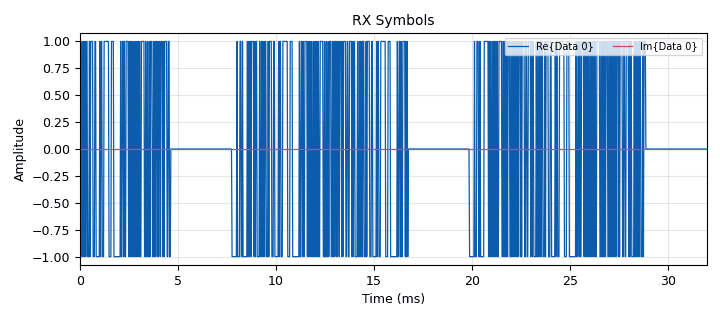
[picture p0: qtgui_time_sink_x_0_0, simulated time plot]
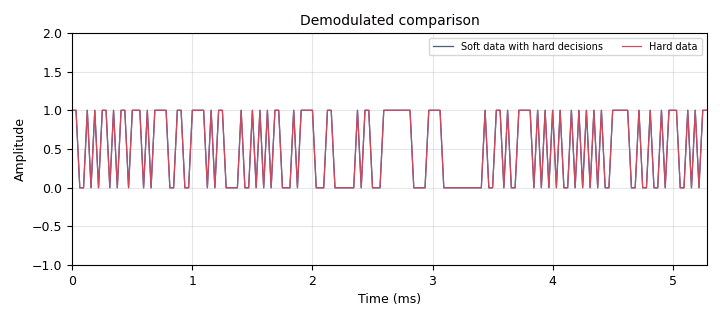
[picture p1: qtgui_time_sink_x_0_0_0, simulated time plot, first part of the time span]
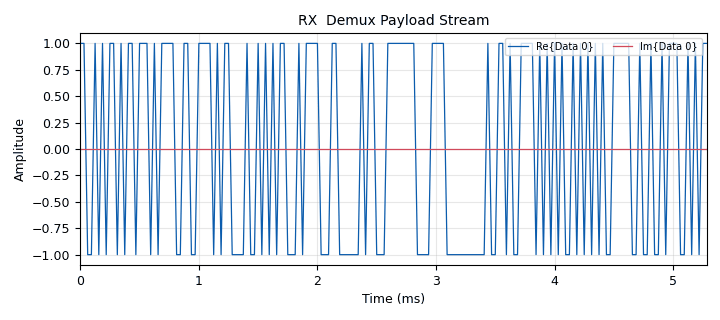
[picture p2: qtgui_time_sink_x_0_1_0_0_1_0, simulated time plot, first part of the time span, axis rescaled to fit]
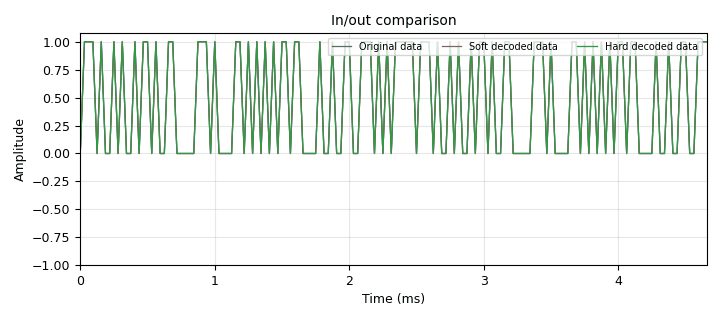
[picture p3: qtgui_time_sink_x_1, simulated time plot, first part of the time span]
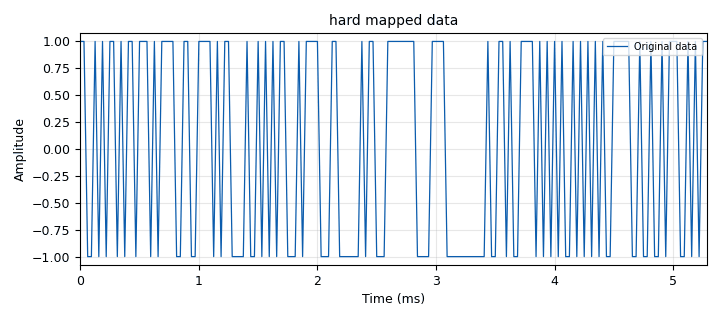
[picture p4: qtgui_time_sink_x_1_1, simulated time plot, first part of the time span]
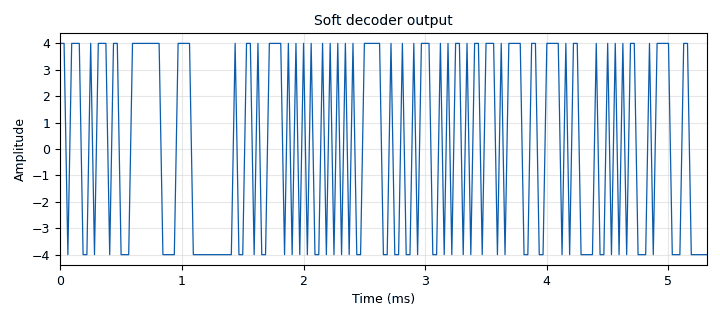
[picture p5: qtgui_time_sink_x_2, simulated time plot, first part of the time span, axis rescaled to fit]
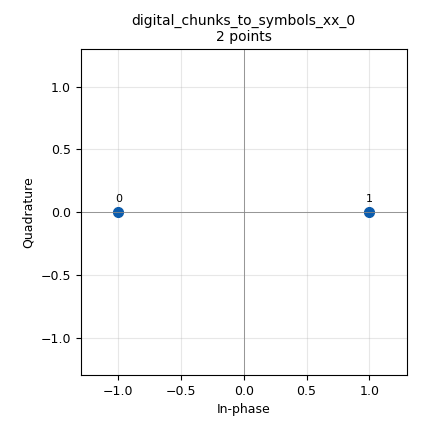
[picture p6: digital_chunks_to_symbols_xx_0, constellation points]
<?xml version='1.0' encoding='utf-8'?>
<?grc format='1' created='3.7.11'?>
<flow_graph>
<block>
<key>options</key>
<param><key>id</key><value>basic_encdec_fec</value></param>
<param><key>category</key><value>Custom</value></param>
<param><key>generate_options</key><value>qt_gui</value></param>
</block>
<block>
<key>variable</key>
<param><key>id</key><value>constel</value></param>
<param><key>value</key><value>digital.constellation_qpsk()</value></param>
</block>
<block>
<key>variable_constellation</key>
<param><key>id</key><value>constel_header</value></param>
<param><key>const_points</key><value>[1,-1]</value></param>
<param><key>type</key><value>calcdist</value></param>
<param><key>dims</key><value>1</value></param>
<param><key>_enabled</key><value>0</value></param>
<param><key>rot_sym</key><value>2</value></param>
<param><key>precision</key><value>8</value></param>
<param><key>sym_map</key><value>[0,1]</value></param>
</block>
<block>
<key>variable</key>
<param><key>id</key><value>constel_header</value></param>
<param><key>value</key><value>digital.constellation_bpsk()</value></param>
</block>
<block>
<key>variable_constellation</key>
<param><key>id</key><value>constel_payload</value></param>
<param><key>const_points</key><value>[-1-1j, -1+1j, 1+1j, 1-1j]</value></param>
<param><key>type</key><value>calcdist</value></param>
<param><key>dims</key><value>1</value></param>
<param><key>_enabled</key><value>0</value></param>
<param><key>rot_sym</key><value>4</value></param>
<param><key>precision</key><value>8</value></param>
<param><key>sym_map</key><value>[0, 1, 3, 2]</value></param>
</block>
<block>
<key>variable</key>
<param><key>id</key><value>constel_payload</value></param>
<param><key>value</key><value>digital.constellation_bpsk()</value></param>
</block>
<block>
<key>variable</key>
<param><key>id</key><value>constel_preamble</value></param>
<param><key>value</key><value>digital.constellation_bpsk()</value></param>
</block>
<block>
<key>variable_cc_decoder_def</key>
<param><key>id</key><value>dec_cc_0</value></param>
<param><key>padding</key><value>False</value></param>
<param><key>k</key><value>k</value></param>
<param><key>state_end</key><value>-1</value></param>
<param><key>framebits</key><value>frame_size*8</value></param>
<param><key>ndim</key><value>0</value></param>
<param><key>polys</key><value>polys</value></param>
<param><key>rate</key><value>rate</value></param>
<param><key>state_start</key><value>0</value></param>
<param><key>mode</key><value>fec.CC_STREAMING</value></param>
</block>
<block>
<key>variable_cc_decoder_def</key>
<param><key>id</key><value>dec_cc_1</value></param>
<param><key>padding</key><value>False</value></param>
<param><key>k</key><value>k</value></param>
<param><key>state_end</key><value>-1</value></param>
<param><key>framebits</key><value>frame_size*8</value></param>
<param><key>ndim</key><value>0</value></param>
<param><key>polys</key><value>polys</value></param>
<param><key>rate</key><value>rate</value></param>
<param><key>state_start</key><value>0</value></param>
<param><key>mode</key><value>fec.CC_STREAMING</value></param>
</block>
<block>
<key>variable_cc_encoder_def</key>
<param><key>id</key><value>enc_cc</value></param>
<param><key>padding</key><value>False</value></param>
<param><key>k</key><value>k</value></param>
<param><key>framebits</key><value>frame_size*8</value></param>
<param><key>ndim</key><value>0</value></param>
<param><key>polys</key><value>polys</value></param>
<param><key>rate</key><value>rate</value></param>
<param><key>state_start</key><value>0</value></param>
<param><key>mode</key><value>fec.CC_STREAMING</value></param>
</block>
<block>
<key>variable</key>
<param><key>id</key><value>header_formatter</value></param>
<param><key>value</key><value>digital.packet_header_default(32/constel_header.bits_per_symbol(), "packet_len", "packet_num", constel_header.bits_per_symbol())</value></param>
</block>
<block>
<key>variable</key>
<param><key>id</key><value>k</value></param>
<param><key>value</key><value>7</value></param>
</block>
<block>
<key>variable</key>
<param><key>id</key><value>polys</value></param>
<param><key>value</key><value>[109, 79]</value></param>
</block>
<block>
<key>variable</key>
<param><key>id</key><value>preamble</value></param>
<param><key>value</key><value>[1,-1,1,-1,1,1,-1,-1,1,1,-1,1,1,1,-1,1,1,-1,1,-1,-1,1,-1,-1,1,1,1,-1,-1,-1,1,-1,1,1,1,1,-1,-1,1,-1,1,-1,-1,-1,1,1,-1,-1,-1,-1,1,-1,-1,-1,-1,-1,1,1,1,1,1,1,-1,-1]</value></param>
</block>
<block>
<key>variable</key>
<param><key>id</key><value>rate</value></param>
<param><key>value</key><value>2</value></param>
</block>
<block>
<key>variable_qtgui_range</key>
<param><key>id</key><value>samp_rate</value></param>
<param><key>value</key><value>32000</value></param>
<param><key>gui_hint</key><value>3,1,1,1</value></param>
<param><key>label</key><value>Sample rate</value></param>
<param><key>min_len</key><value>100</value></param>
<param><key>orient</key><value>Qt.Horizontal</value></param>
<param><key>start</key><value>1</value></param>
<param><key>step</key><value>10</value></param>
<param><key>stop</key><value>256000</value></param>
<param><key>rangeType</key><value>int</value></param>
<param><key>widget</key><value>slider</value></param>
</block>
<block>
<key>variable</key>
<param><key>id</key><value>samp_rate</value></param>
<param><key>_enabled</key><value>0</value></param>
<param><key>value</key><value>32000</value></param>
</block>
<block>
<key>analog_random_source_x</key>
<param><key>id</key><value>analog_random_source_x_0</value></param>
<param><key>max</key><value>256</value></param>
<param><key>min</key><value>0</value></param>
<param><key>num_samps</key><value>10</value></param>
<param><key>type</key><value>byte</value></param>
<param><key>repeat</key><value>True</value></param>
</block>
<block>
<key>blocks_char_to_float</key>
<param><key>id</key><value>blocks_char_to_float_0</value></param>
<param><key>scale</key><value>1</value></param>
</block>
<block>
<key>blocks_char_to_float</key>
<param><key>id</key><value>blocks_char_to_float_0_0</value></param>
<param><key>scale</key><value>1</value></param>
</block>
<block>
<key>blocks_char_to_float</key>
<param><key>id</key><value>blocks_char_to_float_0_0_0</value></param>
<param><key>scale</key><value>1</value></param>
</block>
<block>
<key>blocks_char_to_float</key>
<param><key>id</key><value>blocks_char_to_float_0_0_0_0</value></param>
<param><key>scale</key><value>1</value></param>
</block>
<block>
<key>blocks_char_to_float</key>
<param><key>id</key><value>blocks_char_to_float_0_0_1</value></param>
<param><key>scale</key><value>1</value></param>
</block>
<block>
<key>blocks_char_to_float</key>
<param><key>id</key><value>blocks_char_to_float_0_1</value></param>
<param><key>scale</key><value>1</value></param>
</block>
<block>
<key>blocks_message_debug</key>
<param><key>id</key><value>blocks_message_debug_0</value></param>
<param><key>_enabled</key><value>0</value></param>
</block>
<block>
<key>blocks_null_source</key>
<param><key>id</key><value>blocks_null_source_0</value></param>
<param><key>bus_conns</key><value>[[0,],]</value></param>
<param><key>type</key><value>complex</value></param>
</block>
<block>
<key>blocks_repack_bits_bb</key>
<param><key>id</key><value>blocks_repack_bits_bb_0</value></param>
<param><key>k</key><value>constel_payload.bits_per_symbol()</value></param>
<param><key>l</key><value>1</value></param>
<param><key>endianness</key><value>gr.GR_MSB_FIRST</value></param>
</block>
<block>
<key>blocks_repack_bits_bb</key>
<param><key>id</key><value>blocks_repack_bits_bb_0_1</value></param>
<param><key>k</key><value>8</value></param>
<param><key>l</key><value>1</value></param>
<param><key>endianness</key><value>gr.GR_LSB_FIRST</value></param>
<param><key>len_tag_key</key><value></value></param>
</block>
<block>
<key>blocks_repack_bits_bb</key>
<param><key>id</key><value>blocks_repack_bits_bb_0_2</value></param>
<param><key>k</key><value>constel_payload.bits_per_symbol()</value></param>
<param><key>l</key><value>8</value></param>
<param><key>endianness</key><value>gr.GR_LSB_FIRST</value></param>
<param><key>len_tag_key</key><value></value></param>
</block>
<block>
<key>blocks_repack_bits_bb</key>
<param><key>id</key><value>blocks_repack_bits_bb_0_2_0</value></param>
<param><key>k</key><value>1</value></param>
<param><key>l</key><value>constel_payload.bits_per_symbol()</value></param>
<param><key>endianness</key><value>gr.GR_MSB_FIRST</value></param>
<param><key>len_tag_key</key><value>"packet_len"</value></param>
</block>
<block>
<key>blocks_stream_to_tagged_stream</key>
<param><key>id</key><value>blocks_stream_to_tagged_stream_0</value></param>
<param><key>len_tag_key</key><value>"packet_len"</value></param>
<param><key>packet_len</key><value>128</value></param>
<param><key>type</key><value>byte</value></param>
</block>
<block>
<key>blocks_stream_to_tagged_stream</key>
<param><key>id</key><value>blocks_stream_to_tagged_stream_0_0_0</value></param>
<param><key>len_tag_key</key><value>"packet_len"</value></param>
<param><key>packet_len</key><value>100</value></param>
<param><key>type</key><value>complex</value></param>
</block>
<block>
<key>blocks_stream_to_tagged_stream</key>
<param><key>id</key><value>blocks_stream_to_tagged_stream_1</value></param>
<param><key>len_tag_key</key><value>"debug"</value></param>
<param><key>packet_len</key><value>4000</value></param>
<param><key>type</key><value>complex</value></param>
</block>
<block>
<key>blocks_tag_debug</key>
<param><key>id</key><value>blocks_tag_debug_0</value></param>
<param><key>_enabled</key><value>0</value></param>
<param><key>type</key><value>byte</value></param>
<param><key>filter</key><value>"packet_len"</value></param>
</block>
<block>
<key>blocks_tagged_stream_mux</key>
<param><key>id</key><value>blocks_tagged_stream_mux_0</value></param>
<param><key>type</key><value>complex</value></param>
<param><key>lengthtagname</key><value>packet_len</value></param>
<param><key>ninputs</key><value>3</value></param>
</block>
<block>
<key>blocks_throttle</key>
<param><key>id</key><value>blocks_throttle_0</value></param>
<param><key>samples_per_second</key><value>samp_rate</value></param>
<param><key>type</key><value>complex</value></param>
</block>
<block>
<key>digital_binary_slicer_fb</key>
<param><key>id</key><value>digital_binary_slicer_fb_0</value></param>
</block>
<block>
<key>digital_chunks_to_symbols_xx</key>
<param><key>id</key><value>digital_chunks_to_symbols_xx_0</value></param>
<param><key>dimension</key><value>1</value></param>
<param><key>in_type</key><value>byte</value></param>
<param><key>out_type</key><value>complex</value></param>
<param><key>symbol_table</key><value>constel_header.points()</value></param>
</block>
<block>
<key>digital_chunks_to_symbols_xx</key>
<param><key>id</key><value>digital_chunks_to_symbols_xx_0_0</value></param>
<param><key>dimension</key><value>1</value></param>
<param><key>in_type</key><value>byte</value></param>
<param><key>out_type</key><value>complex</value></param>
<param><key>symbol_table</key><value>constel_payload.points()</value></param>
</block>
<block>
<key>digital_constellation_decoder_cb</key>
<param><key>id</key><value>digital_constellation_decoder_cb_0</value></param>
<param><key>constellation</key><value>constel_header.base()</value></param>
</block>
<block>
<key>digital_constellation_decoder_cb</key>
<param><key>id</key><value>digital_constellation_decoder_cb_1</value></param>
<param><key>constellation</key><value>constel_payload.base()</value></param>
</block>
<block>
<key>digital_constellation_soft_decoder_cf</key>
<param><key>id</key><value>digital_constellation_soft_decoder_cf_0</value></param>
<param><key>constellation</key><value>constel_payload.base()</value></param>
</block>
<block>
<key>digital_header_payload_demux</key>
<param><key>id</key><value>digital_header_payload_demux_0</value></param>
<param><key>header_len</key><value>32/constel_header.bits_per_symbol()</value></param>
<param><key>header_padding</key><value>0</value></param>
<param><key>type</key><value>complex</value></param>
<param><key>items_per_symbol</key><value>1</value></param>
<param><key>length_tag_key</key><value>"packet_len"</value></param>
<param><key>output_symbols</key><value>True</value></param>
<param><key>samp_rate</key><value>samp_rate</value></param>
<param><key>special_tags</key><value>()</value></param>
<param><key>timing_tag_key</key><value></value></param>
<param><key>trigger_tag_key</key><value>"packet_len"</value></param>
</block>
<block>
<key>digital_map_bb</key>
<param><key>id</key><value>digital_map_bb_0</value></param>
<param><key>map</key><value>[-1,1]</value></param>
</block>
<block>
<key>digital_packet_headergenerator_bb</key>
<param><key>id</key><value>digital_packet_headergenerator_bb_0</value></param>
<param><key>header_formatter</key><value>header_formatter</value></param>
<param><key>len_tag_key</key><value>"packet_len"</value></param>
</block>
<block>
<key>digital_packet_headerparser_b</key>
<param><key>id</key><value>digital_packet_headerparser_b_0</value></param>
<param><key>header_formatter</key><value>header_formatter.base()</value></param>
</block>
<block>
<key>fec_ber_bf</key>
<param><key>id</key><value>fec_ber_bf_1</value></param>
<param><key>_enabled</key><value>0</value></param>
<param><key>test_mode</key><value>False</value></param>
</block>
<block>
<key>fec_extended_tagged_decoder</key>
<param><key>id</key><value>fec_extended_tagged_decoder_0</value></param>
<param><key>decoder_list</key><value>dec_cc_0</value></param>
<param><key>lentagname</key><value>"packet_len"</value></param>
<param><key>mtu</key><value>128</value></param>
<param><key>puncpat</key><value>'11'</value></param>
</block>
<block>
<key>fec_extended_tagged_decoder</key>
<param><key>id</key><value>fec_extended_tagged_decoder_0_0</value></param>
<param><key>decoder_list</key><value>dec_cc_1</value></param>
<param><key>lentagname</key><value>"packet_len"</value></param>
<param><key>mtu</key><value>128</value></param>
<param><key>puncpat</key><value>'11'</value></param>
</block>
<block>
<key>fec_extended_tagged_encoder</key>
<param><key>id</key><value>fec_extended_tagged_encoder_0</value></param>
<param><key>encoder_list</key><value>enc_cc</value></param>
<param><key>lentagname</key><value>"packet_len"</value></param>
<param><key>mtu</key><value>128</value></param>
<param><key>puncpat</key><value>'11'</value></param>
</block>
<block>
<key>parameter</key>
<param><key>id</key><value>frame_size</value></param>
<param><key>label</key><value>Frame Size</value></param>
<param><key>type</key><value>intx</value></param>
<param><key>value</key><value>60</value></param>
</block>
<block>
<key>parameter</key>
<param><key>id</key><value>puncpat</value></param>
<param><key>type</key><value>string</value></param>
<param><key>value</key><value>'11'</value></param>
</block>
<block>
<key>qtgui_const_sink_x</key>
<param><key>id</key><value>qtgui_const_sink_x_0_0</value></param>
<param><key>_enabled</key><value>0</value></param>
<param><key>name</key><value>"RX  Header Constellations"</value></param>
<param><key>size</key><value>1024</value></param>
<param><key>type</key><value>complex</value></param>
</block>
<block>
<key>qtgui_time_sink_x</key>
<param><key>id</key><value>qtgui_time_sink_x_0</value></param>
<param><key>_enabled</key><value>0</value></param>
<param><key>color1</key><value>"blue"</value></param>
<param><key>label1</key><value></value></param>
<param><key>color2</key><value>"red"</value></param>
<param><key>label2</key><value></value></param>
<param><key>name</key><value>"TX Symbols"</value></param>
<param><key>size</key><value>1024</value></param>
<param><key>srate</key><value>samp_rate</value></param>
<param><key>type</key><value>complex</value></param>
</block>
<block>
<key>qtgui_time_sink_x</key>
<param><key>id</key><value>qtgui_time_sink_x_0_0</value></param>
<param><key>color1</key><value>"blue"</value></param>
<param><key>label1</key><value></value></param>
<param><key>color2</key><value>"red"</value></param>
<param><key>label2</key><value></value></param>
<param><key>name</key><value>"RX Symbols"</value></param>
<param><key>size</key><value>1024</value></param>
<param><key>srate</key><value>samp_rate</value></param>
<param><key>type</key><value>complex</value></param>
</block>
<block>
<key>qtgui_time_sink_x</key>
<param><key>id</key><value>qtgui_time_sink_x_0_0_0</value></param>
<param><key>color1</key><value>"blue"</value></param>
<param><key>label1</key><value>"Soft data with hard decisions"</value></param>
<param><key>color2</key><value>"red"</value></param>
<param><key>label2</key><value>"Hard data"</value></param>
<param><key>name</key><value>"Demodulated comparison"</value></param>
<param><key>nconnections</key><value>2</value></param>
<param><key>size</key><value>1024</value></param>
<param><key>srate</key><value>samp_rate</value></param>
<param><key>type</key><value>float</value></param>
<param><key>ymax</key><value>2</value></param>
</block>
<block>
<key>qtgui_time_sink_x</key>
<param><key>id</key><value>qtgui_time_sink_x_0_1</value></param>
<param><key>_enabled</key><value>0</value></param>
<param><key>color1</key><value>"blue"</value></param>
<param><key>label1</key><value></value></param>
<param><key>color2</key><value>"red"</value></param>
<param><key>label2</key><value></value></param>
<param><key>name</key><value>"Header Symbols"</value></param>
<param><key>size</key><value>1024</value></param>
<param><key>srate</key><value>samp_rate</value></param>
<param><key>type</key><value>complex</value></param>
</block>
<block>
<key>qtgui_time_sink_x</key>
<param><key>id</key><value>qtgui_time_sink_x_0_1_0_0_1</value></param>
<param><key>_enabled</key><value>0</value></param>
<param><key>color1</key><value>"blue"</value></param>
<param><key>label1</key><value></value></param>
<param><key>color2</key><value>"red"</value></param>
<param><key>label2</key><value></value></param>
<param><key>name</key><value>"RX  Demux Header Stream"</value></param>
<param><key>size</key><value>1024</value></param>
<param><key>srate</key><value>samp_rate</value></param>
<param><key>type</key><value>complex</value></param>
<param><key>ymax</key><value>100</value></param>
<param><key>ymin</key><value>-100</value></param>
</block>
<block>
<key>qtgui_time_sink_x</key>
<param><key>id</key><value>qtgui_time_sink_x_0_1_0_0_1_0</value></param>
<param><key>color1</key><value>"blue"</value></param>
<param><key>label1</key><value></value></param>
<param><key>color2</key><value>"red"</value></param>
<param><key>label2</key><value></value></param>
<param><key>name</key><value>"RX  Demux Payload Stream"</value></param>
<param><key>size</key><value>1024</value></param>
<param><key>srate</key><value>samp_rate</value></param>
<param><key>type</key><value>complex</value></param>
<param><key>ymax</key><value>100</value></param>
<param><key>ymin</key><value>-100</value></param>
</block>
<block>
<key>qtgui_time_sink_x</key>
<param><key>id</key><value>qtgui_time_sink_x_1</value></param>
<param><key>color1</key><value>"blue"</value></param>
<param><key>label1</key><value>"Original data"</value></param>
<param><key>color2</key><value>"red"</value></param>
<param><key>label2</key><value>"Soft decoded data"</value></param>
<param><key>color3</key><value>"green"</value></param>
<param><key>label3</key><value>"Hard decoded data"</value></param>
<param><key>name</key><value>"In/out comparison"</value></param>
<param><key>nconnections</key><value>3</value></param>
<param><key>size</key><value>1024</value></param>
<param><key>srate</key><value>samp_rate</value></param>
<param><key>type</key><value>float</value></param>
</block>
<block>
<key>qtgui_time_sink_x</key>
<param><key>id</key><value>qtgui_time_sink_x_1_1</value></param>
<param><key>color1</key><value>"blue"</value></param>
<param><key>label1</key><value>"Original data"</value></param>
<param><key>name</key><value>"hard mapped data"</value></param>
<param><key>size</key><value>1024</value></param>
<param><key>srate</key><value>samp_rate</value></param>
<param><key>type</key><value>float</value></param>
</block>
<block>
<key>qtgui_time_sink_x</key>
<param><key>id</key><value>qtgui_time_sink_x_2</value></param>
<param><key>color1</key><value>"blue"</value></param>
<param><key>label1</key><value></value></param>
<param><key>name</key><value>"Soft decoder output"</value></param>
<param><key>size</key><value>102400</value></param>
<param><key>srate</key><value>samp_rate</value></param>
<param><key>type</key><value>float</value></param>
<param><key>update_time</key><value>0.001</value></param>
</block>
<block>
<key>qtgui_time_sink_x</key>
<param><key>id</key><value>qtgui_time_sink_x_3</value></param>
<param><key>_enabled</key><value>0</value></param>
<param><key>color1</key><value>"blue"</value></param>
<param><key>label1</key><value></value></param>
<param><key>name</key><value>"BER"</value></param>
<param><key>size</key><value>1024</value></param>
<param><key>srate</key><value>samp_rate</value></param>
<param><key>type</key><value>float</value></param>
</block>
<block>
<key>virtual_sink</key>
<param><key>id</key><value>virtual_sink_0</value></param>
<param><key>stream_id</key><value>tx_symbol_stream</value></param>
</block>
<block>
<key>virtual_sink</key>
<param><key>id</key><value>virtual_sink_0_0</value></param>
<param><key>stream_id</key><value>rx_symbol_stream</value></param>
</block>
<block>
<key>virtual_sink</key>
<param><key>id</key><value>virtual_sink_1</value></param>
<param><key>stream_id</key><value>src_data</value></param>
</block>
<block>
<key>virtual_sink</key>
<param><key>id</key><value>virtual_sink_2</value></param>
<param><key>stream_id</key><value>snk_data_soft</value></param>
</block>
<block>
<key>virtual_sink</key>
<param><key>id</key><value>virtual_sink_2_0</value></param>
<param><key>stream_id</key><value>snk_data</value></param>
</block>
<block>
<key>virtual_sink</key>
<param><key>id</key><value>virtual_sink_3</value></param>
<param><key>stream_id</key><value>header_data</value></param>
</block>
<block>
<key>virtual_source</key>
<param><key>id</key><value>virtual_source_0</value></param>
<param><key>stream_id</key><value>src_data</value></param>
</block>
<block>
<key>virtual_source</key>
<param><key>id</key><value>virtual_source_1</value></param>
<param><key>stream_id</key><value>rx_symbol_stream</value></param>
</block>
<block>
<key>virtual_source</key>
<param><key>id</key><value>virtual_source_1_0</value></param>
<param><key>stream_id</key><value>tx_symbol_stream</value></param>
</block>
<block>
<key>virtual_source</key>
<param><key>id</key><value>virtual_source_2_0</value></param>
<param><key>stream_id</key><value>snk_data_soft</value></param>
</block>
<block>
<key>virtual_source</key>
<param><key>id</key><value>virtual_source_2_0_0</value></param>
<param><key>stream_id</key><value>snk_data</value></param>
</block>
<block>
<key>virtual_source</key>
<param><key>id</key><value>virtual_source_3</value></param>
<param><key>stream_id</key><value>header_data</value></param>
</block>
<connection><source_block_id>analog_random_source_x_0</source_block_id><sink_block_id>blocks_repack_bits_bb_0_1</sink_block_id><source_key>0</source_key><sink_key>0</sink_key></connection>
<connection><source_block_id>blocks_char_to_float_0</source_block_id><sink_block_id>qtgui_time_sink_x_1</sink_block_id><source_key>0</source_key><sink_key>0</sink_key></connection>
<connection><source_block_id>blocks_char_to_float_0_0</source_block_id><sink_block_id>qtgui_time_sink_x_1</sink_block_id><source_key>0</source_key><sink_key>1</sink_key></connection>
<connection><source_block_id>blocks_char_to_float_0_0_0</source_block_id><sink_block_id>qtgui_time_sink_x_1</sink_block_id><source_key>0</source_key><sink_key>2</sink_key></connection>
<connection><source_block_id>blocks_char_to_float_0_0_0_0</source_block_id><sink_block_id>fec_extended_tagged_decoder_0_0</sink_block_id><source_key>0</source_key><sink_key>0</sink_key></connection>
<connection><source_block_id>blocks_char_to_float_0_0_0_0</source_block_id><sink_block_id>qtgui_time_sink_x_1_1</sink_block_id><source_key>0</source_key><sink_key>0</sink_key></connection>
<connection><source_block_id>blocks_char_to_float_0_0_1</source_block_id><sink_block_id>qtgui_time_sink_x_0_0_0</sink_block_id><source_key>0</source_key><sink_key>0</sink_key></connection>
<connection><source_block_id>blocks_char_to_float_0_1</source_block_id><sink_block_id>qtgui_time_sink_x_0_0_0</sink_block_id><source_key>0</source_key><sink_key>1</sink_key></connection>
<connection><source_block_id>blocks_null_source_0</source_block_id><sink_block_id>blocks_stream_to_tagged_stream_0_0_0</sink_block_id><source_key>0</source_key><sink_key>0</sink_key></connection>
<connection><source_block_id>blocks_repack_bits_bb_0</source_block_id><sink_block_id>virtual_sink_2_0</sink_block_id><source_key>0</source_key><sink_key>0</sink_key></connection>
<connection><source_block_id>blocks_repack_bits_bb_0_1</source_block_id><sink_block_id>blocks_stream_to_tagged_stream_0</sink_block_id><source_key>0</source_key><sink_key>0</sink_key></connection>
<connection><source_block_id>blocks_repack_bits_bb_0_2</source_block_id><sink_block_id>digital_packet_headergenerator_bb_0</sink_block_id><source_key>0</source_key><sink_key>0</sink_key></connection>
<connection><source_block_id>blocks_repack_bits_bb_0_2_0</source_block_id><sink_block_id>blocks_repack_bits_bb_0_2</sink_block_id><source_key>0</source_key><sink_key>0</sink_key></connection>
<connection><source_block_id>blocks_repack_bits_bb_0_2_0</source_block_id><sink_block_id>digital_chunks_to_symbols_xx_0_0</sink_block_id><source_key>0</source_key><sink_key>0</sink_key></connection>
<connection><source_block_id>blocks_stream_to_tagged_stream_0</source_block_id><sink_block_id>fec_extended_tagged_encoder_0</sink_block_id><source_key>0</source_key><sink_key>0</sink_key></connection>
<connection><source_block_id>blocks_stream_to_tagged_stream_0</source_block_id><sink_block_id>virtual_sink_1</sink_block_id><source_key>0</source_key><sink_key>0</sink_key></connection>
<connection><source_block_id>blocks_stream_to_tagged_stream_0_0_0</source_block_id><sink_block_id>blocks_tagged_stream_mux_0</sink_block_id><source_key>0</source_key><sink_key>2</sink_key></connection>
<connection><source_block_id>blocks_stream_to_tagged_stream_1</source_block_id><sink_block_id>digital_constellation_soft_decoder_cf_0</sink_block_id><source_key>0</source_key><sink_key>0</sink_key></connection>
<connection><source_block_id>blocks_tagged_stream_mux_0</source_block_id><sink_block_id>qtgui_time_sink_x_0</sink_block_id><source_key>0</source_key><sink_key>0</sink_key></connection>
<connection><source_block_id>blocks_tagged_stream_mux_0</source_block_id><sink_block_id>virtual_sink_0</sink_block_id><source_key>0</source_key><sink_key>0</sink_key></connection>
<connection><source_block_id>blocks_throttle_0</source_block_id><sink_block_id>virtual_sink_0_0</sink_block_id><source_key>0</source_key><sink_key>0</sink_key></connection>
<connection><source_block_id>digital_binary_slicer_fb_0</source_block_id><sink_block_id>blocks_char_to_float_0_0_1</sink_block_id><source_key>0</source_key><sink_key>0</sink_key></connection>
<connection><source_block_id>digital_binary_slicer_fb_0</source_block_id><sink_block_id>fec_ber_bf_1</sink_block_id><source_key>0</source_key><sink_key>0</sink_key></connection>
<connection><source_block_id>digital_chunks_to_symbols_xx_0</source_block_id><sink_block_id>blocks_tagged_stream_mux_0</sink_block_id><source_key>0</source_key><sink_key>0</sink_key></connection>
<connection><source_block_id>digital_chunks_to_symbols_xx_0</source_block_id><sink_block_id>qtgui_time_sink_x_0_1</sink_block_id><source_key>0</source_key><sink_key>0</sink_key></connection>
<connection><source_block_id>digital_chunks_to_symbols_xx_0_0</source_block_id><sink_block_id>blocks_tagged_stream_mux_0</sink_block_id><source_key>0</source_key><sink_key>1</sink_key></connection>
<connection><source_block_id>digital_constellation_decoder_cb_0</source_block_id><sink_block_id>digital_packet_headerparser_b_0</sink_block_id><source_key>0</source_key><sink_key>0</sink_key></connection>
<connection><source_block_id>digital_constellation_decoder_cb_1</source_block_id><sink_block_id>blocks_repack_bits_bb_0</sink_block_id><source_key>0</source_key><sink_key>0</sink_key></connection>
<connection><source_block_id>digital_constellation_soft_decoder_cf_0</source_block_id><sink_block_id>qtgui_time_sink_x_2</sink_block_id><source_key>0</source_key><sink_key>0</sink_key></connection>
<connection><source_block_id>digital_constellation_soft_decoder_cf_0</source_block_id><sink_block_id>virtual_sink_2</sink_block_id><source_key>0</source_key><sink_key>0</sink_key></connection>
<connection><source_block_id>digital_header_payload_demux_0</source_block_id><sink_block_id>virtual_sink_3</sink_block_id><source_key>0</source_key><sink_key>0</sink_key></connection>
<connection><source_block_id>digital_header_payload_demux_0</source_block_id><sink_block_id>blocks_stream_to_tagged_stream_1</sink_block_id><source_key>1</source_key><sink_key>0</sink_key></connection>
<connection><source_block_id>digital_header_payload_demux_0</source_block_id><sink_block_id>digital_constellation_decoder_cb_1</sink_block_id><source_key>1</source_key><sink_key>0</sink_key></connection>
<connection><source_block_id>digital_header_payload_demux_0</source_block_id><sink_block_id>qtgui_time_sink_x_0_1_0_0_1_0</sink_block_id><source_key>1</source_key><sink_key>0</sink_key></connection>
<connection><source_block_id>digital_map_bb_0</source_block_id><sink_block_id>blocks_char_to_float_0_0_0_0</sink_block_id><source_key>0</source_key><sink_key>0</sink_key></connection>
<connection><source_block_id>digital_packet_headergenerator_bb_0</source_block_id><sink_block_id>digital_chunks_to_symbols_xx_0</sink_block_id><source_key>0</source_key><sink_key>0</sink_key></connection>
<connection><source_block_id>digital_packet_headerparser_b_0</source_block_id><sink_block_id>blocks_message_debug_0</sink_block_id><source_key>header_data</source_key><sink_key>print</sink_key></connection>
<connection><source_block_id>digital_packet_headerparser_b_0</source_block_id><sink_block_id>digital_header_payload_demux_0</sink_block_id><source_key>header_data</source_key><sink_key>header_data</sink_key></connection>
<connection><source_block_id>fec_ber_bf_1</source_block_id><sink_block_id>qtgui_time_sink_x_3</sink_block_id><source_key>0</source_key><sink_key>0</sink_key></connection>
<connection><source_block_id>fec_extended_tagged_decoder_0</source_block_id><sink_block_id>blocks_char_to_float_0_0</sink_block_id><source_key>0</source_key><sink_key>0</sink_key></connection>
<connection><source_block_id>fec_extended_tagged_decoder_0_0</source_block_id><sink_block_id>blocks_char_to_float_0_0_0</sink_block_id><source_key>0</source_key><sink_key>0</sink_key></connection>
<connection><source_block_id>fec_extended_tagged_encoder_0</source_block_id><sink_block_id>blocks_repack_bits_bb_0_2_0</sink_block_id><source_key>0</source_key><sink_key>0</sink_key></connection>
<connection><source_block_id>virtual_source_0</source_block_id><sink_block_id>blocks_char_to_float_0</sink_block_id><source_key>0</source_key><sink_key>0</sink_key></connection>
<connection><source_block_id>virtual_source_1</source_block_id><sink_block_id>digital_header_payload_demux_0</sink_block_id><source_key>0</source_key><sink_key>0</sink_key></connection>
<connection><source_block_id>virtual_source_1</source_block_id><sink_block_id>qtgui_time_sink_x_0_0</sink_block_id><source_key>0</source_key><sink_key>0</sink_key></connection>
<connection><source_block_id>virtual_source_1_0</source_block_id><sink_block_id>blocks_throttle_0</sink_block_id><source_key>0</source_key><sink_key>0</sink_key></connection>
<connection><source_block_id>virtual_source_2_0</source_block_id><sink_block_id>digital_binary_slicer_fb_0</sink_block_id><source_key>0</source_key><sink_key>0</sink_key></connection>
<connection><source_block_id>virtual_source_2_0</source_block_id><sink_block_id>fec_extended_tagged_decoder_0</sink_block_id><source_key>0</source_key><sink_key>0</sink_key></connection>
<connection><source_block_id>virtual_source_2_0_0</source_block_id><sink_block_id>blocks_char_to_float_0_1</sink_block_id><source_key>0</source_key><sink_key>0</sink_key></connection>
<connection><source_block_id>virtual_source_2_0_0</source_block_id><sink_block_id>blocks_tag_debug_0</sink_block_id><source_key>0</source_key><sink_key>0</sink_key></connection>
<connection><source_block_id>virtual_source_2_0_0</source_block_id><sink_block_id>digital_map_bb_0</sink_block_id><source_key>0</source_key><sink_key>0</sink_key></connection>
<connection><source_block_id>virtual_source_2_0_0</source_block_id><sink_block_id>fec_ber_bf_1</sink_block_id><source_key>0</source_key><sink_key>1</sink_key></connection>
<connection><source_block_id>virtual_source_3</source_block_id><sink_block_id>digital_constellation_decoder_cb_0</sink_block_id><source_key>0</source_key><sink_key>0</sink_key></connection>
<connection><source_block_id>virtual_source_3</source_block_id><sink_block_id>qtgui_const_sink_x_0_0</sink_block_id><source_key>0</source_key><sink_key>0</sink_key></connection>
<connection><source_block_id>virtual_source_3</source_block_id><sink_block_id>qtgui_time_sink_x_0_1_0_0_1</sink_block_id><source_key>0</source_key><sink_key>0</sink_key></connection>
</flow_graph>
